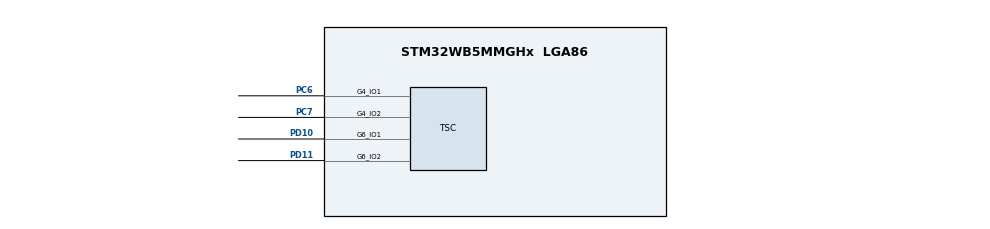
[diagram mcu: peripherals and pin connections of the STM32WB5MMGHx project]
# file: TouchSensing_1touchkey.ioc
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Mcu.Family=STM32WB
Mcu.Name=STM32WB5MMGHx
Mcu.Package=LGA86
NVIC.PriorityGroup=NVIC_PRIORITYGROUP_4
PC6.Mode=G4_IO1-Sampling
PC6.Signal=TSC_G4_IO1
PC7.Mode=G4_IO2-Shield
PC7.Signal=TSC_G4_IO2
PD10.Mode=G6_IO1-Sampling
PD10.Signal=TSC_G6_IO1
PD11.Mode=G6_IO2-Channel
PD11.Signal=TSC_G6_IO2
ProjectManager.HeapSize=0x200
ProjectManager.StackSize=0x400
ProjectManager.TargetToolchain=EWARM V8
RCC.AHB2CLKDivider=RCC_SYSCLK_DIV2
RCC.AHBFreq_Value=64000000
RCC.APB1Freq_Value=64000000
RCC.APB1TimFreq_Value=64000000
RCC.APB2Freq_Value=64000000
RCC.APB2TimFreq_Value=64000000
RCC.APB3Freq_Value=16000000
RCC.Cortex2_Div=SYSTICK_CLKSOURCE_HCLK_DIV8
RCC.CortexFreq_Value=64000000
RCC.HCLKFreq_Value=64000000
RCC.HSE_VALUE=32000000
RCC.HSI48_VALUE=48000000
RCC.HSI_VALUE=16000000
RCC.PLLN=32
RCC.SYSCLKFreq_VALUE=64000000
RCC.SYSCLKSource=RCC_SYSCLKSOURCE_PLLCLK
RCC.VCOOutputFreq_Value=128000000
TOUCHSENSING.IO_TOUCHKEY1=G6_IO2
TOUCHSENSING.IO_TOUCHKEY1-TouchSensing_Enabled=G6_IO3
TOUCHSENSING.IO_TOUCHKEY2=G6_IO3
TOUCHSENSING.TSLPRM_SENSORS_DATAS=TSLPRM_TOTAL_TOUCHKEYS 1 1 
TOUCHSENSING.TSLPRM_TOTAL_TOUCHKEYS=1
TOUCHSENSING.TSLPRM_TOTAL_TOUCHKEYS_B=0
TSC.AcquisitionMode=TSC_ACQ_MODE_NORMAL
TSC.ChannelIOs-G6_IO2=TSC_GROUP6_IO2
TSC.SamplingIOs-G4_IO1=TSC_GROUP4_IO1
TSC.SamplingIOs-G6_IO1=TSC_GROUP6_IO1
TSC.ShieldIOs-G4_IO2=TSC_GROUP4_IO2
TSC.SynchroPinPolarity=TSC_SYNC_POLARITY_FALLING
VP_RCC_V_OSC_IN.Mode=HSE-External-Clock-Source
VP_TOUCHSENSING_VS_TOUCHSENSING.Mode=TouchSensing_Enabled
board=custom

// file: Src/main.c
/* USER CODE BEGIN Header */
/**
  ******************************************************************************
  * @file           : main.c
  * @brief          : Main program body
  ******************************************************************************
  * @attention
  *
  * <h2><center>&copy; Copyright (c) 2020 STMicroelectronics.
  * All rights reserved.</center></h2>
  *
  * This software component is licensed by ST under Ultimate Liberty license
  * SLA0044, the "License"; You may not use this file except in compliance with
  * the License. You may obtain a copy of the License at:
  *                             www.st.com/SLA0044
  *
  ******************************************************************************
  */
/* USER CODE END Header */
#include "main.h"
#include "touchsensing.h"

TSC_HandleTypeDef htsc;

/* USER CODE BEGIN PV */
aPwmLedGsData_TypeDef aPwmLedGsData;
/* USER CODE END PV */

void SystemClock_Config(void);
static void MX_GPIO_Init(void);
static void MX_TSC_Init(void);
/* USER CODE BEGIN PFP */
static void Process_Sensors(tsl_user_status_t status);
/* USER CODE END PFP */

int main(void)
{
  /* USER CODE BEGIN 1 */
  tsl_user_status_t tsl_status;

  /* Set default off value for each leds */
  aPwmLedGsData[PWM_LED_RED]   = PWM_LED_GSDATA_OFF;
  aPwmLedGsData[PWM_LED_GREEN] = PWM_LED_GSDATA_OFF;
  aPwmLedGsData[PWM_LED_BLUE]  = PWM_LED_GSDATA_OFF;
  /* USER CODE END 1 */

  /* MCU Configuration--------------------------------------------------------*/

  /* Reset of all peripherals, Initializes the Flash interface and the Systick. */
  HAL_Init();

  /* Configure the system clock */
  SystemClock_Config();

  /* Initialize all configured peripherals */
  MX_GPIO_Init();
  MX_TSC_Init();
  MX_TOUCHSENSING_Init();
  /* USER CODE BEGIN 2 */
  /* Configure the PWM LED */
  BSP_PWM_LED_Init();
  /* USER CODE END 2 */

  /* Infinite loop */
  while (1)
  {

    /* USER CODE BEGIN 3 */
    /* Execute STMTouch Driver state machine */
    tsl_status = tsl_user_Exec();
    if (tsl_status != TSL_USER_STATUS_BUSY)
    {
      Process_Sensors(tsl_status);
    }
  }
  /* USER CODE END 3 */
}

void SystemClock_Config(void)
{
  RCC_OscInitTypeDef RCC_OscInitStruct = {0};
  RCC_ClkInitTypeDef RCC_ClkInitStruct = {0};
  RCC_PeriphCLKInitTypeDef PeriphClkInitStruct = {0};

  /** Configure the main internal regulator output voltage
  */
  __HAL_PWR_VOLTAGESCALING_CONFIG(PWR_REGULATOR_VOLTAGE_SCALE1);
  /** Initializes the RCC Oscillators according to the specified parameters
  * in the RCC_OscInitTypeDef structure.
  */
  RCC_OscInitStruct.OscillatorType = RCC_OSCILLATORTYPE_HSI|RCC_OSCILLATORTYPE_HSE
                              |RCC_OSCILLATORTYPE_MSI;
  RCC_OscInitStruct.HSEState = RCC_HSE_ON;
  RCC_OscInitStruct.HSIState = RCC_HSI_ON;
  RCC_OscInitStruct.MSIState = RCC_MSI_ON;
  RCC_OscInitStruct.HSICalibrationValue = RCC_HSICALIBRATION_DEFAULT;
  RCC_OscInitStruct.MSICalibrationValue = RCC_MSICALIBRATION_DEFAULT;
  RCC_OscInitStruct.MSIClockRange = RCC_MSIRANGE_6;
  RCC_OscInitStruct.PLL.PLLState = RCC_PLL_ON;
  RCC_OscInitStruct.PLL.PLLSource = RCC_PLLSOURCE_MSI;
  RCC_OscInitStruct.PLL.PLLM = RCC_PLLM_DIV1;
  RCC_OscInitStruct.PLL.PLLN = 32;
  RCC_OscInitStruct.PLL.PLLP = RCC_PLLP_DIV2;
  RCC_OscInitStruct.PLL.PLLR = RCC_PLLR_DIV2;
  RCC_OscInitStruct.PLL.PLLQ = RCC_PLLQ_DIV2;
  if (HAL_RCC_OscConfig(&RCC_OscInitStruct) != HAL_OK)
  {
    Error_Handler();
  }
  /** Configure the SYSCLKSource, HCLK, PCLK1 and PCLK2 clocks dividers
  */
  RCC_ClkInitStruct.ClockType = RCC_CLOCKTYPE_HCLK4|RCC_CLOCKTYPE_HCLK2
                              |RCC_CLOCKTYPE_HCLK|RCC_CLOCKTYPE_SYSCLK
                              |RCC_CLOCKTYPE_PCLK1|RCC_CLOCKTYPE_PCLK2;
  RCC_ClkInitStruct.SYSCLKSource = RCC_SYSCLKSOURCE_PLLCLK;
  RCC_ClkInitStruct.AHBCLKDivider = RCC_SYSCLK_DIV1;
  RCC_ClkInitStruct.APB1CLKDivider = RCC_HCLK_DIV1;
  RCC_ClkInitStruct.APB2CLKDivider = RCC_HCLK_DIV1;
  RCC_ClkInitStruct.AHBCLK2Divider = RCC_SYSCLK_DIV2;
  RCC_ClkInitStruct.AHBCLK4Divider = RCC_SYSCLK_DIV1;

  if (HAL_RCC_ClockConfig(&RCC_ClkInitStruct, FLASH_LATENCY_3) != HAL_OK)
  {
    Error_Handler();
  }
  /** Initializes the peripherals clocks
  */
  PeriphClkInitStruct.PeriphClockSelection = RCC_PERIPHCLK_SMPS;
  PeriphClkInitStruct.SmpsClockSelection = RCC_SMPSCLKSOURCE_HSI;
  PeriphClkInitStruct.SmpsDivSelection = RCC_SMPSCLKDIV_RANGE1;
  if (HAL_RCCEx_PeriphCLKConfig(&PeriphClkInitStruct) != HAL_OK)
  {
    Error_Handler();
  }
}

static void MX_TSC_Init(void)
{

  /** Configure the TSC peripheral
  */
  htsc.Instance = TSC;
  htsc.Init.CTPulseHighLength = TSC_CTPH_2CYCLES;
  htsc.Init.CTPulseLowLength = TSC_CTPL_2CYCLES;
  htsc.Init.SpreadSpectrum = DISABLE;
  htsc.Init.SpreadSpectrumDeviation = 1;
  htsc.Init.SpreadSpectrumPrescaler = TSC_SS_PRESC_DIV1;
  htsc.Init.PulseGeneratorPrescaler = TSC_PG_PRESC_DIV4;
  htsc.Init.MaxCountValue = TSC_MCV_8191;
  htsc.Init.IODefaultMode = TSC_IODEF_OUT_PP_LOW;
  htsc.Init.SynchroPinPolarity = TSC_SYNC_POLARITY_FALLING;
  htsc.Init.AcquisitionMode = TSC_ACQ_MODE_NORMAL;
  htsc.Init.MaxCountInterrupt = DISABLE;
  htsc.Init.ChannelIOs = TSC_GROUP6_IO2;
  htsc.Init.ShieldIOs = TSC_GROUP4_IO2;
  htsc.Init.SamplingIOs = TSC_GROUP4_IO1|TSC_GROUP6_IO1;
  if (HAL_TSC_Init(&htsc) != HAL_OK)
  {
    Error_Handler();
  }

}

static void MX_GPIO_Init(void)
{

  /* GPIO Ports Clock Enable */
  __HAL_RCC_GPIOC_CLK_ENABLE();
  __HAL_RCC_GPIOD_CLK_ENABLE();

}

/* USER CODE BEGIN 4 */
/**
  * @brief  Display sensors information on LED
  * @param  status TSL user status
  * @retval None
  */
void Process_Sensors(tsl_user_status_t status)
{
  /* LED TS1 is ON, with High light level when TS1 on board is touched */
  if (MyTKeys[0].p_Data->StateId == TSL_STATEID_DETECT)
  {
    aPwmLedGsData[PWM_LED_BLUE]  = PWM_LED_GSDATA_OFF;
    aPwmLedGsData[PWM_LED_GREEN] = PWM_LED_GSDATA_7_0;
    BSP_PWM_LED_On(aPwmLedGsData);
  }
  /* LED TS1 is ON, with Low light level when TS1 on board is approach */
  else if (MyTKeys[0].p_Data->StateId == TSL_STATEID_PROX)
  {
    aPwmLedGsData[PWM_LED_BLUE]  = PWM_LED_GSDATA_OFF;
    aPwmLedGsData[PWM_LED_GREEN] = PWM_LED_GSDATA_0_6;
    BSP_PWM_LED_On(aPwmLedGsData);
  }
  else
  {
    aPwmLedGsData[PWM_LED_GREEN]  = PWM_LED_GSDATA_OFF;
    BSP_PWM_LED_On(aPwmLedGsData);
  }

  /* ECS information */
  switch (status)
  {
    case TSL_USER_STATUS_OK_ECS_OFF:
      aPwmLedGsData[PWM_LED_GREEN] = PWM_LED_GSDATA_OFF;
      aPwmLedGsData[PWM_LED_BLUE]  = PWM_LED_GSDATA_OFF;
      BSP_PWM_LED_On(aPwmLedGsData);
      break;
    case TSL_USER_STATUS_OK_ECS_ON:
      aPwmLedGsData[PWM_LED_GREEN] = PWM_LED_GSDATA_OFF;
      aPwmLedGsData[PWM_LED_BLUE]  = PWM_LED_GSDATA_7_0;
      BSP_PWM_LED_On(aPwmLedGsData);
      break;
    default:
      break;
  }
}
/* USER CODE END 4 */

void Error_Handler(void)
{
  /* USER CODE BEGIN Error_Handler_Debug */
  aPwmLedGsData[PWM_LED_RED]   = PWM_LED_GSDATA_7_0;
  aPwmLedGsData[PWM_LED_GREEN] = PWM_LED_GSDATA_OFF;
  aPwmLedGsData[PWM_LED_BLUE]  = PWM_LED_GSDATA_OFF;

  /* User can add his own implementation to report the HAL error return state */
  __disable_irq();
  while (1)
  {
    BSP_PWM_LED_On(aPwmLedGsData);
  }
  /* USER CODE END Error_Handler_Debug */
}

/************************ (C) COPYRIGHT STMicroelectronics *****END OF FILE****/
